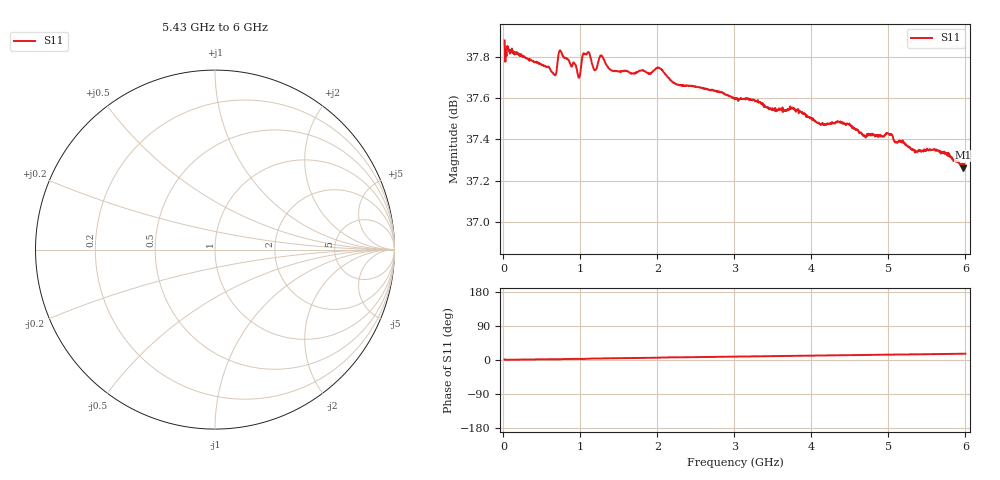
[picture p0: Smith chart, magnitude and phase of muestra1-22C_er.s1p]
! NanoVNA-UTN-Toolkit permittivity export -- NOT S-parameters
! ES: Permitividad relativa compleja de la muestra. NO es S11: se guarda en
! ES: formato Touchstone solo para poder graficarla con visores de .s1p.
! EN: Complex relative permittivity of the sample. NOT S11: the Touchstone
! EN: format is used only so that .s1p viewers can plot it.
! Columns / Columnas: f (Hz) | eps' | eps'' (loss >= 0); eps_r = eps' - j*eps''
! Sample / Muestra: muestra1-22C
! Technique / Tecnica: Open-ended coaxial probe (liquids)
! References / Referencias: water + ipa
! Probe / Sonda: 3 mm probe (C0 0.019 pF)
! Temperature / Temperatura: 23.0 °C
! Reliable from 45 MHz: points below are not reliable / Confiable desde 45 MHz: los puntos inferiores no son confiables
! Spike removal replaced 1 isolated S11 point(s) before solving / La remocion de picos reemplazo 1 punto(s) aislado(s) de S11
! 2 point(s) without a solution omitted / 2 punto(s) sin solucion omitidos
! Exported / Exportado: 2026-10-24T13:07:38
# Hz S RI R 50
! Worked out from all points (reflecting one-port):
!   1198 points, 15 MHz to 6 GHz, reference 50 ohm
!   lowest |S11| = 37.3 dB at 5.975 GHz (marker M1)
!   phase of S11 starts at 1 deg and turns +16 deg over the sweep
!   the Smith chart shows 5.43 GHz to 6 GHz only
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1.5e7  78.34 1.489
7e7  77.93 0.8827
4.75e8  77.31 2.339
6.6e8  76.83 2.606
7.05e8  77.43 2.141
7.65e8  77.65 3.302
9.4e8  77.16 4.168
9.75e8  76.64 4.012
1.015e9  77.34 3.53
1.09e9  77.68 4.535
1.14e9  77.32 5.238
1.185e9  76.89 5.076
1.225e9  77.16 4.859
1.27e9  77.51 5.39
1.325e9  77.14 5.915
1.515e9  76.74 6.317
2.01e9  76.72 8.296
2.12e9  76.29 9.013
2.26e9  75.86 9.372
3.01e9  74.92 11.85
3.76e9  74.06 14.22
4.1e9  73.21 15.25
4.505e9  72.87 16.58
4.705e9  72.24 16.96
5.045e9  71.97 18.47
5.255e9  71.4 18.73
5.975e9  69.94 20.81
6e9  70.02 20.86
